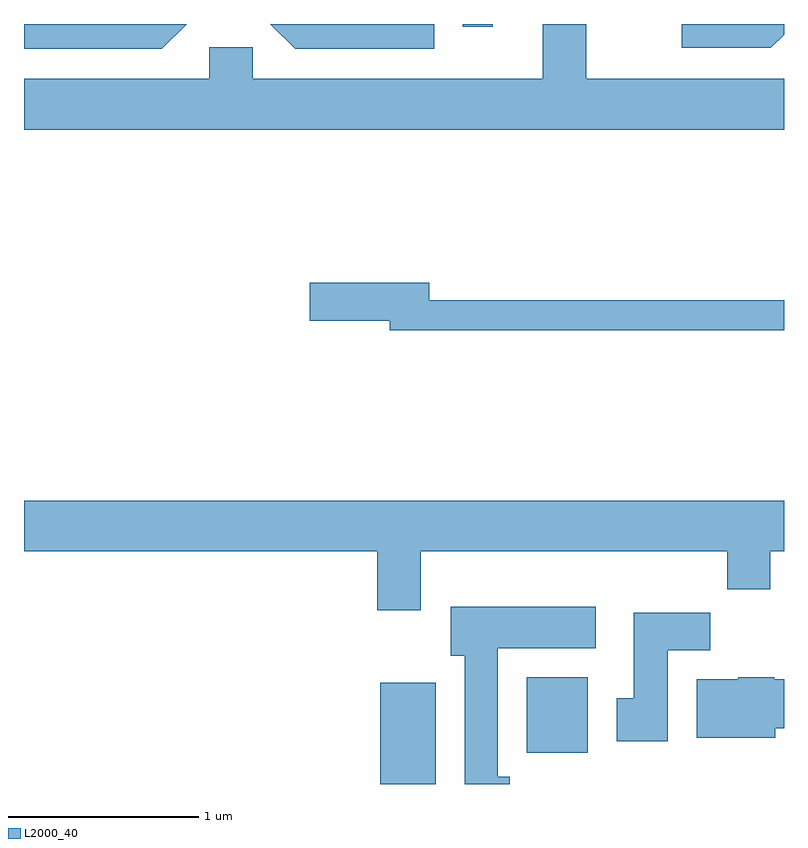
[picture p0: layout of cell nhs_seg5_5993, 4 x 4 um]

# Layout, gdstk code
import gdstk
lib = gdstk.Library(unit=1e-6, precision=1e-09)
def R(c, l, rs):  # rectangles x0, y0, x1, y1
    for r in rs: c.add(gdstk.rectangle(r[:2], r[2:], *l))
def P(c, l, *ps):  # polygons
    for p in ps: c.add(gdstk.Polygon(p, *l))
L2000_40 = (2000, 40)

nhs_seg5_5993 = lib.new_cell('nhs_seg5_5993')
R(nhs_seg5_5993, L2000_40, [(365.486,1400.072,365.779,1400.604), (366.256,1400.236,366.579,1400.634), (365.921,1404.058,366.079,1404.072)])
P(nhs_seg5_5993, L2000_40, [(367.611,1403.784),(366.569,1403.784),(366.569,1404.072),(366.341,1404.072),(366.341,1403.784),(364.814,1403.784),(364.814,1403.949),(364.586,1403.949),(364.586,1403.784),(363.611,1403.784),(363.611,1403.516),(367.611,1403.516)],
  [(364.468,1404.072),(363.611,1404.072),(363.611,1403.941),(364.337,1403.941)],
  [(365.769,1404.072),(364.908,1404.072),(365.039,1403.941),(365.769,1403.941)],
  [(367.611,1404.015),(367.611,1404.072),(367.073,1404.072),(367.073,1403.946),(367.542,1403.946)],
  [(367.611,1402.619),(365.744,1402.619),(365.744,1402.709),(365.116,1402.709),(365.116,1402.511),(365.536,1402.511),(365.536,1402.461),(367.611,1402.461)],
  [(365.699,1401.296),(367.311,1401.296),(367.311,1401.096),(367.539,1401.096),(367.539,1401.296),(367.611,1401.296),(367.611,1401.564),(363.611,1401.564),(363.611,1401.296),(365.471,1401.296),(365.471,1400.986),(365.699,1400.986)],
  [(366.168,1400.109),(366.104,1400.109),(366.104,1400.786),(366.619,1400.786),(366.619,1401.004),(365.856,1401.004),(365.856,1400.746),(365.931,1400.746),(365.931,1400.072),(366.168,1400.072)],
  [(366.999,1400.776),(367.224,1400.776),(367.224,1400.974),(366.821,1400.974),(366.821,1400.524),(366.731,1400.524),(366.731,1400.296),(366.999,1400.296)],
  [(367.564,1400.366),(367.611,1400.366),(367.611,1400.624),(367.56,1400.624),(367.56,1400.634),(367.37,1400.634),(367.37,1400.624),(367.151,1400.624),(367.151,1400.316),(367.564,1400.316)])

lib.write_gds('nhs_seg5_5993.gds')
